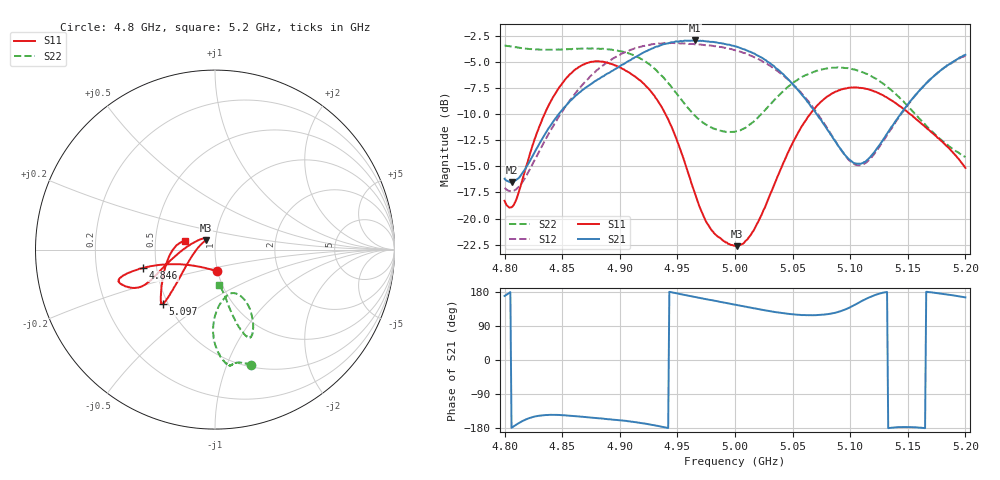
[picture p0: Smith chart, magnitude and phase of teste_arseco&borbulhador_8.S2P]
! Network Analyzer HP8722D
! Hewlett-Packard
! Data name: Linha & Wilkinson
! Saver's name: Rodrigo Anjos
! Comments: Teste da utilização de aquisição
! continua pelo VNA HP8722D
! Time and date: 15/4/2025 15:42
!  Frequency  S11  S21  S12  S22
# HZ  S  MA R 50
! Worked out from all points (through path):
!   401 points, 4.8 GHz to 5.2 GHz, reference 50 ohm
!   highest |S21| = -2.97 dB at 4.965 GHz (marker M1); lowest = -16.5 dB at 4.806 GHz (marker M2)
!   lowest |S11| = -22.6 dB at 5.002 GHz (marker M3), VSWR 1.16, Z = 44.8 + j4.65 ohm
!   |S11| at or under -10 dB: start of sweep to 4.835 GHz; 4.94 GHz to 5.065 GHz (125.6 MHz wide, 2.51 % of centre); 5.152 GHz to end of sweep
!   |S22| runs from -14.1 to -3.5 dB; largest |S21 - S12| = 0.82
!   S11 on the Smith chart (normalised r, x): 4.8 GHz: 0.99, -0.24; 4.846 GHz: 0.42, -0.10; 5.097 GHz: 0.47, -0.34; 5.2 GHz: 0.71, +0.07
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4.8e9  0.1217 -84.9  0.155 169.1  0.1402 -136.4  0.6721 -72.4
4.806e9  0.1133 -110.1  0.1492 -178.9  0.1347 -124.1  0.6645 -73.8
4.83e9  0.2743 -162.7  0.2273 -147.0  0.2095 -89.6  0.6429 -78.3
4.846e9  0.4123 -165.5  0.3111 -144.9  0.3007 -84.9  0.6429 -80.1
4.867e9  0.5405 -163.9  0.4095 -149.7  0.433 -87.5  0.6505 -82.0
4.899e9  0.5311 -157.0  0.53 -159.0  0.6035 -98.8  0.6331 -84.6
4.917e9  0.4599 -153.3  0.6065 -165.5  0.6597 -106.5  0.5867 -87.6
4.934e9  0.3587 -156.7  0.6689 -174.6  0.6876 -114.3  0.4969 -90.9
4.947e9  0.258 -166.1  0.6977 177.4  0.6906 -120.2  0.4111 -91.0
4.965e9  0.1329 165.6  0.7107 166.3  0.681 -128.1  0.3114 -85.6
4.98e9  0.08759 132.8  0.7001 157.9  0.6709 -134.8  0.2719 -77.9
5e9  0.07413 132.4  0.6663 146.0  0.6386 -144.2  0.2602 -68.4
5.002e9  0.07384 135.6  0.662 144.8  0.6339 -145.1  0.2623 -67.6
5.015e9  0.08609 163.7  0.6207 137.5  0.597 -151.4  0.2877 -61.8
5.032e9  0.1363 -163.0  0.5443 128.0  0.5305 -158.5  0.3587 -59.2
5.05e9  0.2297 -143.8  0.4401 120.7  0.4409 -164.4  0.4448 -61.8
5.067e9  0.326 -136.3  0.3385 118.2  0.3442 -166.1  0.4992 -65.2
5.097e9  0.4196 -134.1  0.197 135.0  0.196 -147.7  0.5242 -69.1
5.113e9  0.4183 -136.0  0.1868 160.2  0.184 -120.8  0.4952 -71.1
5.134e9  0.3727 -143.4  0.2645 -179.4  0.2606 -98.1  0.419 -73.8
5.165e9  0.2748 -166.1  0.4375 -179.8  0.4382 -96.3  0.2819 -77.5
5.2e9  0.1747 164.1  0.6072 165.3  0.6012 -108.9  0.1968 -82.8
